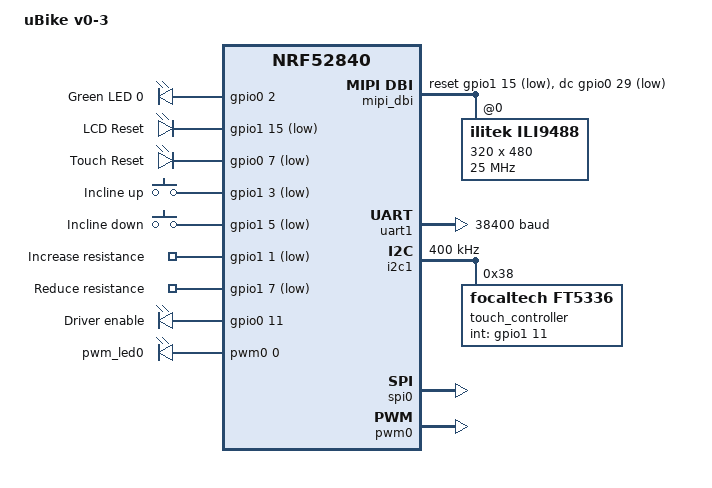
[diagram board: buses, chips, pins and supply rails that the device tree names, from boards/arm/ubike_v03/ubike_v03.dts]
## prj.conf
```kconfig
# Universal Bike Controller
# Copyright (C) 2022-2023, Greco Engineering Solutions LLC
#
# This program is free software: you can redistribute it and/or modify
# it under the terms of the GNU General Public License as published by
# the Free Software Foundation, either version 3 of the License, or
# (at your option) any later version.
#
# This program is distributed in the hope that it will be useful,
# but WITHOUT ANY WARRANTY; without even the implied warranty of
# MERCHANTABILITY or FITNESS FOR A PARTICULAR PURPOSE.  See the
# GNU General Public License for more details.
#
# You should have received a copy of the GNU General Public License
# along with this program.  If not, see <http://www.gnu.org/licenses/>.

CONFIG_SERIAL=y
CONFIG_UART_ASYNC_API=y

CONFIG_BT=y
#CONFIG_BT_DEBUG_LOG=y
CONFIG_BT_SMP=y
#CONFIG_BT_DEBUG_SMP=y
CONFIG_BT_PERIPHERAL=y
#CONFIG_BT_DIS=y
#CONFIG_BT_DIS_PNP=n
CONFIG_BT_DEVICE_NAME="uBike FTMS"
CONFIG_BT_DEVICE_APPEARANCE=1152

# For RTT debugging
CONFIG_RTT_CONSOLE=y
CONFIG_USE_SEGGER_RTT=y
CONFIG_CONSOLE=y
#CONFIG_I2C_LOG_LEVEL_DBG=y

# For LCD display
CONFIG_HEAP_MEM_POOL_SIZE=16384
CONFIG_MAIN_STACK_SIZE=8192
CONFIG_DISPLAY=y
CONFIG_SPI=y
CONFIG_LOG=n
#CONFIG_DISPLAY_LOG_LEVEL_ERR=y
CONFIG_LVGL=y
CONFIG_LV_MEM_CUSTOM=y
#CONFIG_LV_USE_LOG=y
CONFIG_LV_USE_LABEL=y
CONFIG_LV_USE_BTN=y
CONFIG_LV_USE_IMG=y
CONFIG_LV_FONT_MONTSERRAT_24=y
CONFIG_LV_FONT_MONTSERRAT_48=y
# CONFIG_LV_Z_POINTER_KSCAN is not set
# CONFIG_DISPLAY_LOG_LEVEL_DBG=y

# For capacitive touch
CONFIG_KSCAN=y
CONFIG_I2C=y
# CONFIG_KSCAN_LOG_LEVEL_DBG=y
# CONFIG_LV_Z_POINTER_KSCAN_SWAP_XY is not set
# CONFIG_LV_Z_POINTER_KSCAN_INVERT_Y is not set

# For LED Backlight
CONFIG_PWM=y

# For diagnostics
# CONFIG_RESET_ON_FATAL_ERROR=n

# Required for MCUboot GPIO support on Nordic
CONFIG_GPIO=y
CONFIG_GPIO_NRFX=y
CONFIG_NRFX_GPIOTE0=y

# DFU support
CONFIG_BOOTLOADER_MCUBOOT=y
CONFIG_MCUMGR=y
CONFIG_ZCBOR=y
CONFIG_MCUMGR_TRANSPORT_BT=y
CONFIG_FLASH=y
CONFIG_FLASH_MAP=y
CONFIG_STREAM_FLASH=y
CONFIG_IMG_MANAGER=y
CONFIG_MCUMGR_GRP_IMG=y
CONFIG_MCUMGR_GRP_OS=y
CONFIG_BT_DFU_SMP=y
```

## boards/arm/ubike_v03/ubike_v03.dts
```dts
/*
 * Universal Bike Controller
 * Copyright (C) 2022-2023, Greco Engineering Solutions LLC
 *
 * This program is free software: you can redistribute it and/or modify
 * it under the terms of the GNU General Public License as published by
 * the Free Software Foundation, either version 3 of the License, or
 * (at your option) any later version.
 *
 * This program is distributed in the hope that it will be useful,
 * but WITHOUT ANY WARRANTY; without even the implied warranty of
 * MERCHANTABILITY or FITNESS FOR A PARTICULAR PURPOSE.  See the
 * GNU General Public License for more details.
 *
 * You should have received a copy of the GNU General Public License
 * along with this program.  If not, see <http://www.gnu.org/licenses/>.
 */

/dts-v1/;
#include <nordic/nrf52840_qiaa.dtsi>
#include <zephyr/dt-bindings/display/ili9xxx.h>
#include "ubike_v03-pinctrl.dtsi"

/ {
	model = "uBike v0-3";
	compatible = "ubike,ubike-v03";

	 chosen {
		 zephyr,console = &uart0;
		 zephyr,shell-uart = &uart0;
		 zephyr,uart-mcumgr = &uart0;
		 zephyr,bt-mon-uart = &uart0;
		 zephyr,bt-c2h-uart = &uart0;
		 zephyr,sram = &sram0;
		 zephyr,flash = &flash0;
		 zephyr,display = &ili9488;
		 zephyr,keyboard-scan = &touch_controller;
	 };

	 leds {
		 compatible = "gpio-leds";
		 led0: led_0 {
			 gpios = <&gpio0 2 GPIO_ACTIVE_HIGH>; // UNUSED
			 label = "Green LED 0";
		 };
		 lcdrst: lcd_rst { // RESET
			 gpios = <&gpio1 15 GPIO_ACTIVE_LOW>;
			 label = "LCD Reset";
		 };
		 cptrst: cpt_rst { // YU
			 gpios = <&gpio0 7 GPIO_ACTIVE_LOW>;
			 label = "Touch Reset";
		 };
	 };

	 buttons {
		compatible = "gpio-keys";
		addInc: add_inc { // IN 4
			gpios = <&gpio1 3 (GPIO_PULL_UP | GPIO_ACTIVE_LOW)>;
			label = "Incline up";
		};
		subInc: sub_inc { // IN 1
			gpios = <&gpio1 5 (GPIO_PULL_UP | GPIO_ACTIVE_LOW)>;
			label = "Incline down";
		};
		addRes: add_res { // IN 3
			gpios = <&gpio1 1 (GPIO_PULL_UP | GPIO_ACTIVE_LOW)>;
			label = "Increase resistance";
		};
		subRes: sub_res { // IN 2
			gpios = <&gpio1 7 (GPIO_PULL_UP | GPIO_ACTIVE_LOW)>;
			label = "Reduce resistance";
		};
	};

	rs485 {
		compatible = "gpio-leds";
		rs485de: rs485_de {
			gpios = <&gpio0 11 GPIO_ACTIVE_HIGH>;
			label = "Driver enable";
		};
	};

	mipi_dbi: mipi_dbi {
		compatible = "zephyr,mipi-dbi-spi";
		spi-dev = <&spi0>;
		dc-gpios = <&gpio0 29 GPIO_ACTIVE_LOW>; // RS
		reset-gpios = <&gpio1 15 GPIO_ACTIVE_LOW>; // RESET
		write-only;
		#address-cells = <1>;
		#size-cells = <0>;

		ili9488: ili9488@0 {
			compatible = "ilitek,ili9488";
			reg = <0>;
			mipi-max-frequency = <25000000>;
			pixel-format = <ILI9XXX_PIXEL_FORMAT_RGB565>;
			width = <320>;
			height = <480>;
			rotation = <180>;
			display-inversion;
			frmctr1 = [a0 11];
			pwctrl1 = [17 15];
			pwctrl2 = [41];
			pgamctrl = [00 03 09 08 16 0a 3f 78 4c 09 0a 08 16 1a 0f];
			ngamctrl = [00 16 19 03 0f 05 32 45 46 04 0e 0d 35 37 0f];
		};
	};

	pwmleds {
		compatible = "pwm-leds";
		pwm_led0: pwm_led_0 {
			pwms = <&pwm0 0 PWM_MSEC(20) PWM_POLARITY_INVERTED>;
		};
	};

	aliases {
		rs485de = &rs485de;
		lcdrst = &lcdrst;
		cptrst = &cptrst;
		blpwm = &pwm_led0;
		addinc = &addInc;
		subinc = &subInc;
		addres = &addRes;
		subres = &subRes;
		led0 = &led0;
		bootloader-led0 = &led0;
		mcuboot-led0 = &led0;
		watchdog0 = &wdt0;
	};
};

&flash0 {
	partitions {
		compatible = "fixed-partitions";
		#address-cells = <1>;
		#size-cells = <1>;

		boot_partition: partition@0 {
				label = "mcuboot";
				reg = <0x000000000 0x00008000>;
		};
	};
};

&gpio0 {
	status = "okay";
};

&gpio1 {
	status = "okay";
};

&gpiote {
	status = "okay";
};

&uart0 {
	status = "disabled";
};

&uart1 {
	compatible = "nordic,nrf-uarte";
	current-speed = <38400>;
	status = "okay";
	pinctrl-0 = <&uart1_default>;
	pinctrl-1 = <&uart1_sleep>;
	pinctrl-names = "default", "sleep";
};

&i2c1 {
	compatible = "nordic,nrf-twim";
	status = "okay";
	clock-frequency = <I2C_BITRATE_FAST>;
	pinctrl-0 = <&i2c1_default>;
	pinctrl-1 = <&i2c1_sleep>;
	pinctrl-names = "default", "sleep";

	touch_controller: ft5336@38 {
		compatible = "focaltech,ft5336";
		reg = <0x38>;
		int-gpios = <&gpio1 11 GPIO_ACTIVE_HIGH>; // YD
	};
};

&spi0 {
	status = "okay";
	compatible = "nordic,nrf-spim";
	cs-gpios = <&gpio0 31 GPIO_ACTIVE_LOW>; // CS
	pinctrl-0 = <&spi0_default>;
	pinctrl-1 = <&spi0_sleep>;
	pinctrl-names = "default", "sleep";
};


&pwm0 {
	status = "okay";
	pinctrl-0 = <&pwm0_default>;
	pinctrl-1 = <&pwm0_sleep>;
	pinctrl-names = "default", "sleep";
};
```

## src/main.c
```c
/*
 * Universal Bike Controller
 * Copyright (C) 2022-2023, Greco Engineering Solutions LLC
 *
 * This program is free software: you can redistribute it and/or modify
 * it under the terms of the GNU General Public License as published by
 * the Free Software Foundation, either version 3 of the License, or
 * (at your option) any later version.
 *
 * This program is distributed in the hope that it will be useful,
 * but WITHOUT ANY WARRANTY; without even the implied warranty of
 * MERCHANTABILITY or FITNESS FOR A PARTICULAR PURPOSE.  See the
 * GNU General Public License for more details.
 *
 * You should have received a copy of the GNU General Public License
 * along with this program.  If not, see <http://www.gnu.org/licenses/>.
 */

#include <stdio.h>
#include <stdlib.h>
#include <string.h>
#include <zephyr/bluetooth/bluetooth.h>
#include <zephyr/bluetooth/conn.h>
#include <zephyr/bluetooth/gatt.h>
#include <zephyr/bluetooth/uuid.h>
#include <zephyr/drivers/gpio.h>
#include <zephyr/drivers/uart.h>
#include <zephyr/kernel.h>
#include <zephyr/logging/log.h>
#include <zephyr/mgmt/mcumgr/transport/smp_bt.h>
#include <zephyr/random/rand32.h>
#include <zephyr/sys/atomic.h>
#include <zephyr/types.h>

#include "asciiModbus.h"
#include "bikeControl.h"
#include "cps.h"
#include "cscs.h"
#include "display.h"
// #include "fec.h"
#include "ftms.h"
#include "version.h"

LOG_MODULE_REGISTER ( app );

#define DEVICE_NAME CONFIG_BT_DEVICE_NAME
#define DEVICE_NAME_LEN ( sizeof ( DEVICE_NAME ) - 1 )
#define BT_DEVICE_CYCLING_APPEARANCE 0x012

#define TGT_CYCLE_MS 500

#define LED0_NODE DT_ALIAS ( led0 )
#define RS485DE_NODE DT_ALIAS ( rs485de )
#define CPT_RST_NODE DT_ALIAS ( cptrst )

#define BUT1_NODE DT_ALIAS ( addinc )
#define BUT2_NODE DT_ALIAS ( subinc )
#define BUT3_NODE DT_ALIAS ( addres )
#define BUT4_NODE DT_ALIAS ( subres )

#define RX_BUFF_SIZE 100
#define TX_BUFF_SIZE 20
#define RX_TIMEOUT_US 2000
#define TX_TIMEOUT_US 2000
#define SEM_TIMEOUT K_MSEC ( 50 )

static const struct bt_data ad []
    = { BT_DATA_BYTES ( BT_DATA_GAP_APPEARANCE,
                        ( BT_DEVICE_CYCLING_APPEARANCE >> 0 ) & 0xff,
                        ( BT_DEVICE_CYCLING_APPEARANCE >> 8 ) & 0xff ),
        BT_DATA_BYTES ( BT_DATA_FLAGS,
                        ( BT_LE_AD_GENERAL | BT_LE_AD_NO_BREDR ) ),
        BT_DATA_BYTES ( BT_DATA_UUID16_ALL,
                        BT_UUID_16_ENCODE ( BT_UUID_CPS_VAL ),
                        BT_UUID_16_ENCODE ( BT_UUID_CSC_VAL ),
                        BT_UUID_16_ENCODE ( BT_UUID_FTMS_VAL ) ),
        BT_DATA ( BT_DATA_NAME_COMPLETE, DEVICE_NAME, DEVICE_NAME_LEN ) };

static const struct bt_data sd [] = {
    BT_DATA_BYTES ( BT_DATA_UUID128_ALL,
                    0x84,
                    0xaa,
                    0x60,
                    0x74,
                    0x52,
                    0x8a,
                    0x8b,
                    0x86,
                    0xd3,
                    0x4c,
                    0xb7,
                    0x1d,
                    0x1d,
                    0xdc,
                    0x53,
                    0x8d ),
};

static void adv_start ( void )
{
    int err;

    err = bt_le_adv_start ( BT_LE_ADV_CONN,
                            ad,
                            ARRAY_SIZE ( ad ),
                            sd,
                            ARRAY_SIZE ( sd ) );
    if ( err ) {
        LOG_ERR ( "Advertising failed to start (err %d)", err );
        return;
    }

    LOG_INF ( "Advertising successfully started" );
}

static void connected ( struct bt_conn *conn, uint8_t err )
{
    if ( err ) {
        LOG_ERR ( "Connection failed (err 0x%02x)", err );
    } else {
        LOG_INF ( "Connected" );
    }
}

static void disconnected ( struct bt_conn *conn, uint8_t reason )
{
    LOG_INF ( "Disconnected (reason 0x%02x)", reason );
}

BT_CONN_CB_DEFINE ( conn_callbacks )
    = { .connected = connected, .disconnected = disconnected };

K_SEM_DEFINE ( rs485_sem, 0, 1 );
K_CONDVAR_DEFINE ( txDoneVar );
K_CONDVAR_DEFINE ( rxDoneVar );
K_MUTEX_DEFINE ( mutex );
static const struct gpio_dt_spec led = GPIO_DT_SPEC_GET ( LED0_NODE, gpios );
static const struct gpio_dt_spec rs485de
    = GPIO_DT_SPEC_GET ( RS485DE_NODE, gpios );
static const struct gpio_dt_spec cptRst
    = GPIO_DT_SPEC_GET ( CPT_RST_NODE, gpios );
static const struct device *uart = DEVICE_DT_GET ( DT_NODELABEL ( uart1 ) );
static const struct gpio_dt_spec addInc = GPIO_DT_SPEC_GET ( BUT1_NODE, gpios );
static const struct gpio_dt_spec subInc = GPIO_DT_SPEC_GET ( BUT3_NODE, gpios );
static const struct gpio_dt_spec addRes = GPIO_DT_SPEC_GET ( BUT2_NODE, gpios );
static const struct gpio_dt_spec subRes = GPIO_DT_SPEC_GET ( BUT4_NODE, gpios );
static struct gpio_callback addIncCbData;
static struct gpio_callback subIncCbData;
static struct gpio_callback addResCbData;
static struct gpio_callback subResCbData;
static uint8_t rx_buf_1 [RX_BUFF_SIZE] = { 0 };
static uint8_t rx_buf_2 [RX_BUFF_SIZE] = { 0 };
static uint8_t rx_buf_num = 1;
static uint8_t tx_buf [TX_BUFF_SIZE] = { 0 };
static atomic_t inc_repeat_active = ATOMIC_INIT ( 0 );
static atomic_t res_repeat_active = ATOMIC_INIT ( 0 );

static void inc_repeat_work_handler ( struct k_work *work );
static void res_repeat_work_handler ( struct k_work *work );

K_WORK_DELAYABLE_DEFINE ( inc_repeat_work, inc_repeat_work_handler );
K_WORK_DELAYABLE_DEFINE ( res_repeat_work, res_repeat_work_handler );

int send_cmd ( cmd_msg_data_t cmd )
{
#if defined( CONFIG_BOARD_NRF52840DK_NRF52840 ) \
    || defined( CONFIG_BOARD_NRF52840DONGLE_NRF52840 )
    return;
#endif

    // Check the semaphore isn't taken
    k_mutex_lock ( &mutex, K_FOREVER );
    if ( k_sem_take ( &rs485_sem, SEM_TIMEOUT ) ) {
        LOG_WRN ( "Failed to get rs485 semaphore!  Transmitting anyways..." );
    }

    // Send the message
    gpio_pin_set_dt ( &rs485de, 1 );
    k_msleep ( 5 );  // Give transciever time to update
    if ( uart_tx ( uart, tx_buf, create_msg ( tx_buf, cmd ), TX_TIMEOUT_US ) ) {
        gpio_pin_set_dt ( &rs485de, 0 );
        k_sem_give ( &rs485_sem );
        LOG_ERR ( "Failed to send message..." );
        return -1;
    }

    // Wait for send
    if ( k_condvar_wait ( &txDoneVar, &mutex, SEM_TIMEOUT ) ) {
        LOG_ERR ( "Timed out waiting for TX done." );
        return -2;
    }
    k_mutex_unlock ( &mutex );

    // Wait for reply
    if ( k_condvar_wait ( &rxDoneVar, &mutex, SEM_TIMEOUT ) ) {
        LOG_ERR ( "Timed out waiting for reply." );
        return -3;
    }
    k_mutex_unlock ( &mutex );

    return 0;
}

static void inc_repeat_work_handler ( struct k_work *work )
{
    buttonStatus_t adj;
    ARG_UNUSED ( work );

    adj = evaluateButton ( gpio_pin_get ( addInc.port, addInc.pin ),
                           gpio_pin_get ( subInc.port, subInc.pin ) );
    if ( adj == NOTHING ) {
        atomic_clear ( &inc_repeat_active );
        return;
    }

    adjustIncline ( adj );
    k_work_reschedule ( &inc_repeat_work, K_USEC ( INC_BUTTON_DLY_US ) );
}

static void res_repeat_work_handler ( struct k_work *work )
{
    buttonStatus_t adj;
    ARG_UNUSED ( work );

    adj = evaluateButton ( gpio_pin_get ( addRes.port, addRes.pin ),
                           gpio_pin_get ( subRes.port, subRes.pin ) );
    if ( adj == NOTHING ) {
        atomic_clear ( &res_repeat_active );
        return;
    }

    adjustResistance ( adj );
    k_work_reschedule ( &res_repeat_work, K_USEC ( RES_BUTTON_DLY_US ) );
}

static void incPressed ( const struct device *dev,
                         struct gpio_callback *cb,
                         uint32_t pins )
{
    ARG_UNUSED ( dev );
    ARG_UNUSED ( cb );
    ARG_UNUSED ( pins );

    // Only apply an immediate update on the first edge; repeated edges keep
    // the periodic work active and debounce bounce events.
    if ( atomic_cas ( &inc_repeat_active, 0, 1 ) ) {
        buttonStatus_t adj
            = evaluateButton ( gpio_pin_get ( addInc.port, addInc.pin ),
                               gpio_pin_get ( subInc.port, subInc.pin ) );
        adjustIncline ( adj );
    }

    k_work_reschedule ( &inc_repeat_work, K_USEC ( INC_BUTTON_DLY_US ) );
}

static void resPressed ( const struct device *dev,
                         struct gpio_callback *cb,
                         uint32_t pins )
{
    ARG_UNUSED ( dev );
    ARG_UNUSED ( cb );
    ARG_UNUSED ( pins );

    // Only apply an immediate update on the first edge; repeated edges keep
    // the periodic work active and debounce bounce events.
    if ( atomic_cas ( &res_repeat_active, 0, 1 ) ) {
        buttonStatus_t adj
            = evaluateButton ( gpio_pin_get ( addRes.port, addRes.pin ),
                               gpio_pin_get ( subRes.port, subRes.pin ) );
        adjustResistance ( adj );
    }

    k_work_reschedule ( &res_repeat_work, K_USEC ( RES_BUTTON_DLY_US ) );
}

static void add_rx_bytes ( char *buff, size_t offset, size_t len )
{
    static char msg [2 * RX_BUFF_SIZE] = { 0 };
    static size_t pos = 0;
    for ( int i = 0; i < len; i++ ) {
        if ( pos + i >= 2 * RX_BUFF_SIZE ) {
            LOG_ERR ( "Message buffer overflow!" );
            pos = 0;
            memset ( msg, 0, 2 * RX_BUFF_SIZE );
            return;
        }
        msg [pos] = buff [offset + i];
        if ( msg [pos] == TERM_CHAR_8 ) {
            char *start = strrchr ( msg, START_CHAR_8 );
            if ( start ) {
                if ( start != msg ) {
                    LOG_WRN ( "Data thrown out!" );
                }
                int res = new_msg ( start, pos - ( start - msg ) );
                if ( res ) {
                    LOG_ERR ( "Failed to process new message: %d", res );
                }
                k_sem_give ( &rs485_sem );
                k_condvar_signal ( &rxDoneVar );
            }
            pos = 0;
            memset ( msg, 0, 2 * RX_BUFF_SIZE );
        } else {
            pos++;
        }
    }
}

static int enable_rx()
{
    if ( rx_buf_num == 2 ) {
        rx_buf_num = 1;
        return uart_rx_enable ( uart, rx_buf_1, RX_BUFF_SIZE, RX_TIMEOUT_US );
    }
    rx_buf_num = 2;
    return uart_rx_enable ( uart, rx_buf_2, RX_BUFF_SIZE, RX_TIMEOUT_US );
}

static int switch_rx_buf()
{
    if ( rx_buf_num == 2 ) {
        rx_buf_num = 1;
        return uart_rx_buf_rsp ( uart, rx_buf_1, RX_BUFF_SIZE );
    }
    rx_buf_num = 2;
    return uart_rx_buf_rsp ( uart, rx_buf_2, RX_BUFF_SIZE );
}

static void release_rx_buf()
{
    if ( rx_buf_num == 2 ) {
        memset ( rx_buf_1, 0, RX_BUFF_SIZE );
    }
    memset ( rx_buf_2, 0, RX_BUFF_SIZE );
}

static void uart_cb ( const struct device *dev,
                      struct uart_event *evt,
                      void *user_data )
{
    switch ( evt->type ) {
        case UART_TX_DONE:
            memset ( tx_buf, 0, TX_BUFF_SIZE );
            k_msleep ( 2 );
            gpio_pin_set_dt ( &rs485de, 0 );
            k_condvar_signal ( &txDoneVar );
            break;
        case UART_RX_RDY:
            add_rx_bytes ( evt->data.rx.buf,
                           evt->data.rx.offset,
                           evt->data.rx.len );
            break;
        case UART_RX_DISABLED:
            LOG_WRN ( "UART_RX_DISABLED" );
            enable_rx();
            break;
        case UART_TX_ABORTED:
            LOG_WRN ( "UART_TX_ABORTED" );
            gpio_pin_set_dt ( &rs485de, 0 );
            memset ( tx_buf, 0, TX_BUFF_SIZE );
            break;
        case UART_RX_BUF_REQUEST:
            switch_rx_buf();
            break;
        case UART_RX_BUF_RELEASED:
            release_rx_buf();
            break;
        case UART_RX_STOPPED:
            LOG_WRN ( "UART_RX_STOPPED" );
            break;
    }
}

void main ( void )
{
    LOG_INF ( "Starting application, board: %s", CONFIG_BOARD );
    LOG_INF ( "Software: %s:%s", GIT_BRANCH, GIT_COMMIT_HASH );

    LOG_INF ( "Registering callbacks..." );
    setSendMsgCb ( send_cmd );
    ftmsSetTargetsCb ( updateBikeTgts );
    // fecSetTargetsCb ( updateBikeTgts );

    LOG_INF ( "Configuring GPIO..." );
    int ret = 0;
    if ( !device_is_ready ( led.port ) ) {
        ret++;
    }
    if ( !device_is_ready ( rs485de.port ) ) {
        ret++;
    }
    if ( !device_is_ready ( cptRst.port ) ) {
        ret++;
    }
    if ( !device_is_ready ( addInc.port ) ) {
        ret++;
    }
    if ( !device_is_ready ( subInc.port ) ) {
        ret++;
    }
    if ( !device_is_ready ( addRes.port ) ) {
        ret++;
    }
    if ( !device_is_ready ( subRes.port ) ) {
        ret++;
    }
    if ( ret ) {
        LOG_ERR ( "A port was not ready!" );
        return;
    }
    if ( gpio_pin_configure_dt ( &led, GPIO_OUTPUT_ACTIVE ) < 0 ) {
        ret++;
    }
    if ( gpio_pin_configure_dt ( &rs485de, GPIO_OUTPUT_INACTIVE ) < 0 ) {
        ret++;
    }
    if ( gpio_pin_configure_dt ( &cptRst, GPIO_OUTPUT_INACTIVE ) < 0 ) {
        ret++;
    }
    if ( gpio_pin_configure_dt ( &addInc, GPIO_INPUT ) < 0 ) {
        ret++;
    }
    if ( gpio_pin_configure_dt ( &subInc, GPIO_INPUT ) < 0 ) {
        ret++;
    }
    if ( gpio_pin_configure_dt ( &addRes, GPIO_INPUT ) < 0 ) {
        ret++;
    }
    if ( gpio_pin_configure_dt ( &subRes, GPIO_INPUT ) < 0 ) {
        ret++;
    }
    if ( ret ) {
        LOG_ERR ( "Configuration failed of %d devices!", ret );
        return;
    }
    if ( gpio_pin_interrupt_configure_dt ( &addInc, GPIO_INT_EDGE_TO_ACTIVE )
         != 0 ) {
        ret++;
    }
    if ( gpio_pin_interrupt_configure_dt ( &subInc, GPIO_INT_EDGE_TO_ACTIVE )
         != 0 ) {
        ret++;
    }
    if ( gpio_pin_interrupt_configure_dt ( &addRes, GPIO_INT_EDGE_TO_ACTIVE )
         != 0 ) {
        ret++;
    }
    if ( gpio_pin_interrupt_configure_dt ( &subRes, GPIO_INT_EDGE_TO_ACTIVE )
         != 0 ) {
        ret++;
    }
    if ( ret ) {
        LOG_ERR ( "Setting of pin interrupt failed on %d devices!", ret );
        return;
    }
    gpio_init_callback ( &addIncCbData, incPressed, BIT ( addInc.pin ) );
    gpio_init_callback ( &subIncCbData, incPressed, BIT ( subInc.pin ) );
    gpio_init_callback ( &addResCbData, resPressed, BIT ( addRes.pin ) );
    gpio_init_callback ( &subResCbData, resPressed, BIT ( subRes.pin ) );
    if ( gpio_add_callback ( addInc.port, &addIncCbData ) != 0 ) {
        ret++;
    }
    if ( gpio_add_callback ( subInc.port, &subIncCbData ) != 0 ) {
        ret++;
    }
    if ( gpio_add_callback ( addRes.port, &addResCbData ) != 0 ) {
        ret++;
    }
    if ( gpio_add_callback ( subRes.port, &subResCbData ) != 0 ) {
        ret++;
    }
    if ( ret ) {
        LOG_ERR ( "Setting of input callbacks failed on %d devices!", ret );
        return;
    }

    LOG_INF ( "Starting Uart1..." );
    uart = DEVICE_DT_GET ( DT_NODELABEL ( uart1 ) );
    if ( !device_is_ready ( uart ) ) {
        LOG_ERR ( "Uart1 not ready!" );
        return;
    }
    LOG_INF ( "Checking Uart1 ready..." );
    uint32_t start_ms = k_uptime_get_32();
    do {
        ret = uart_err_check ( uart );
        if ( ret ) {
            uint32_t end_ms = k_uptime_get_32();
            if ( end_ms - start_ms > 2000 ) {
                LOG_ERR ( "UART1 check failed: %d", ret );
                return;
            }
            k_msleep ( 10 );
        }
    } while ( ret );
    const struct uart_config uart_cfg
        = { .baudrate = 38400,
            .parity = UART_CFG_PARITY_NONE,
            .stop_bits = UART_CFG_STOP_BITS_1,
            .data_bits = UART_CFG_DATA_BITS_8,
            .flow_ctrl = UART_CFG_FLOW_CTRL_NONE };
    LOG_INF ( "Configuring Uart1..." );
    ret = uart_configure ( uart, &uart_cfg );
    if ( ret ) {
        LOG_ERR ( "Uart1 configure failure: %d", ret );
        return;
    }
    ret = uart_callback_set ( uart, uart_cb, NULL );
    if ( ret ) {
        LOG_ERR ( "Uart1 callback set failure: %d", ret );
        return;
    }
    ret = enable_rx();
    if ( ret ) {
        LOG_ERR ( "Uart1 rx buffer enable failure: %d", ret );
        return;
    }

    LOG_INF ( "Initializing bluetooth..." );
    smp_bt_register();
    ret = bt_enable ( NULL );
    if ( ret ) {
        LOG_ERR ( "Bluetooth init failed (err %d)", ret );
        return;
    }
    LOG_INF ( "Starting advertising..." );
    adv_start();

    // Configure nodes
    LOG_INF ( "Configuring bike nodes..." );
    initBike();

    // Start display last so user knows its ready
    LOG_INF ( "Starting Display..." );
    if ( initDisplay() ) {
        LOG_ERR ( "Display initialization failed!" );
        return;
    }

    LOG_INF ( "Startup complete!  Entering loop..." );
    uint32_t exec_ms;
    bike_data_t bikeData;
    while ( 1 ) {
        // Set start time
        start_ms = k_uptime_get_32();

        // Update bike
        gpio_pin_toggle_dt ( &led );
        updateBike();
        bikeData = getBikeData();
#if defined( CONFIG_BOARD_NRF52840DK_NRF52840 ) \
    || defined( CONFIG_BOARD_NRF52840DONGLE_NRF52840 )
        bikeData.act_rpm = ( sys_rand32_get() % 21 ) + 80;
        bikeData.watts = ( sys_rand32_get() % 101 ) + 200;
#endif

        // Update bluetooth services
        bt_cscs_bike_notify ( bikeData );
        bt_cps_notify ( bikeData );
        bt_ftms_bike_notify ( bikeData );
        // bt_fec_update ( bikeData );
        bt_ftms_status_notify();

        // Update display
        updateDisplay ( bikeData );

        // Sleep to hit cycle target
        exec_ms = k_uptime_get_32() - start_ms;
        if ( exec_ms < TGT_CYCLE_MS ) {
            k_msleep ( TGT_CYCLE_MS - exec_ms );
        }
    }
}
```
